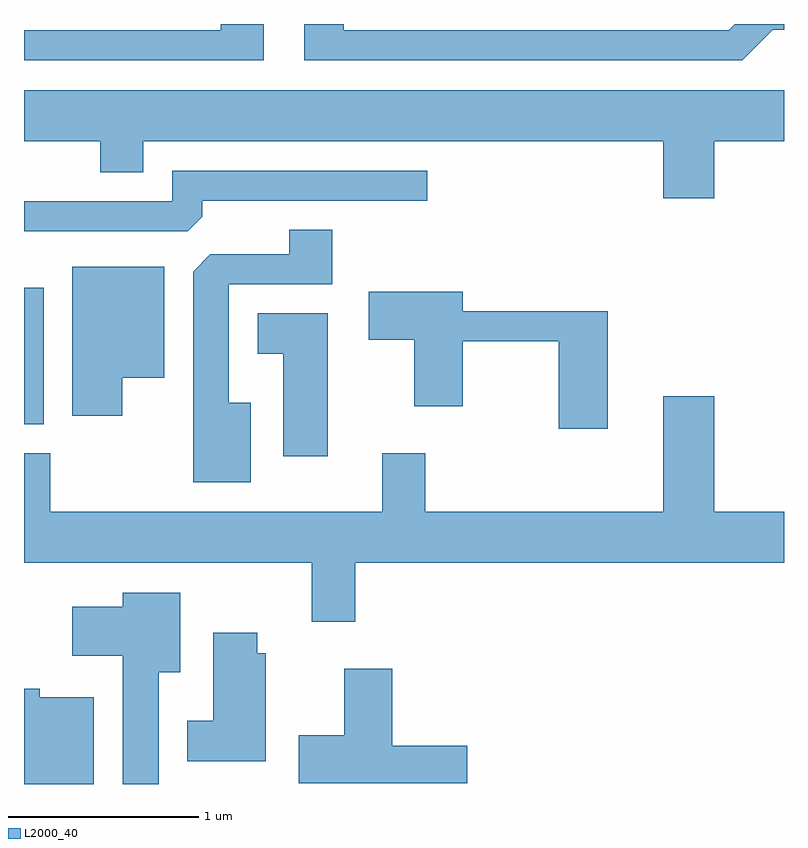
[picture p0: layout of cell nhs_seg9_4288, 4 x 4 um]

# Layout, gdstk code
import gdstk
lib = gdstk.Library(unit=1e-6, precision=1e-09)
def R(c, l, rs):  # rectangles x0, y0, x1, y1
    for r in rs: c.add(gdstk.rectangle(r[:2], r[2:], *l))
def P(c, l, *ps):  # polygons
    for p in ps: c.add(gdstk.Polygon(p, *l))
L2000_40 = (2000, 40)

nhs_seg9_4288 = lib.new_cell('nhs_seg9_4288')
R(nhs_seg9_4288, L2000_40, [(311.611,1990.326,311.714,1991.044)])
P(nhs_seg9_4288, L2000_40, [(315.552,1992.401),(315.611,1992.401),(315.611,1992.432),(315.352,1992.432),(315.319,1992.399),(313.294,1992.399),(313.294,1992.432),(313.086,1992.432),(313.086,1992.241),(315.392,1992.241)],
  [(312.874,1992.432),(312.646,1992.432),(312.646,1992.399),(311.611,1992.399),(311.611,1992.241),(312.874,1992.241)],
  [(315.244,1991.816),(315.611,1991.816),(315.611,1992.084),(311.611,1992.084),(311.611,1991.816),(312.011,1991.816),(312.011,1991.651),(312.239,1991.651),(312.239,1991.816),(314.976,1991.816),(314.976,1991.516),(315.244,1991.516)],
  [(312.549,1991.417),(312.549,1991.501),(313.733,1991.501),(313.733,1991.659),(312.391,1991.659),(312.391,1991.499),(311.611,1991.499),(311.611,1991.341),(312.474,1991.341)],
  [(312.804,1990.439),(312.689,1990.439),(312.689,1991.061),(313.234,1991.061),(313.234,1991.349),(313.006,1991.349),(313.006,1991.219),(312.592,1991.219),(312.501,1991.129),(312.501,1990.021),(312.804,1990.021)],
  [(312.129,1990.571),(312.349,1990.571),(312.349,1991.154),(311.866,1991.154),(311.866,1990.371),(312.129,1990.371)],
  [(314.684,1990.919),(313.919,1990.919),(313.919,1991.024),(313.426,1991.024),(313.426,1990.771),(313.666,1990.771),(313.666,1990.421),(313.919,1990.421),(313.919,1990.761),(314.426,1990.761),(314.426,1990.301),(314.684,1990.301)],
  [(313.209,1990.909),(312.841,1990.909),(312.841,1990.696),(312.976,1990.696),(312.976,1990.156),(313.209,1990.156)],
  [(313.354,1989.596),(315.611,1989.596),(315.611,1989.864),(315.244,1989.864),(315.244,1990.474),(314.976,1990.474),(314.976,1989.864),(313.724,1989.864),(313.724,1990.174),(313.496,1990.174),(313.496,1989.864),(311.749,1989.864),(311.749,1990.174),(311.611,1990.174),(311.611,1989.596),(313.126,1989.596),(313.126,1989.286),(313.354,1989.286)],
  [(312.319,1989.021),(312.434,1989.021),(312.434,1989.439),(312.131,1989.439),(312.131,1989.364),(311.866,1989.364),(311.866,1989.106),(312.131,1989.106),(312.131,1988.432),(312.319,1988.432)],
  [(312.884,1989.119),(312.839,1989.119),(312.839,1989.229),(312.606,1989.229),(312.606,1988.764),(312.471,1988.764),(312.471,1988.551),(312.884,1988.551)],
  [(313.944,1988.634),(313.549,1988.634),(313.549,1989.039),(313.296,1989.039),(313.296,1988.689),(313.056,1988.689),(313.056,1988.436),(313.944,1988.436)],
  [(311.979,1988.889),(311.694,1988.889),(311.694,1988.934),(311.611,1988.934),(311.611,1988.432),(311.979,1988.432)])

lib.write_gds('nhs_seg9_4288.gds')
